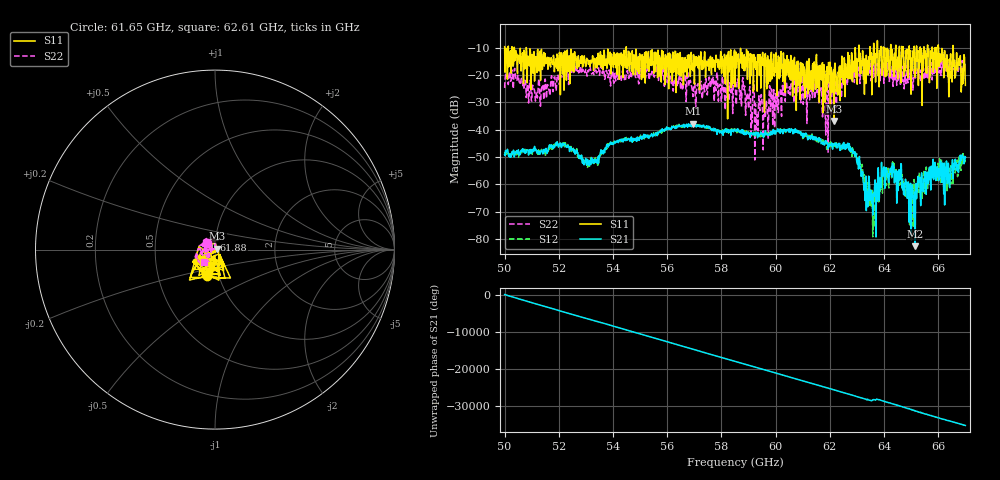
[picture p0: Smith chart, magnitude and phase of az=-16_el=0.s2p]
!Created with skrf (http://scikit-rf.org).
# GHz S RI R 50.0
!freq ReS11 ImS11 ReS21 ImS21 ReS12 ImS12 ReS22 ImS22
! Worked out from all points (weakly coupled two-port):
!   1001 points, 50 GHz to 67 GHz, reference 50 ohm
!   highest |S21| = -37.82 dB at 56.95 GHz (marker M1); lowest = -82.6 dB at 65.15 GHz (marker M2)
!   lowest |S11| = -36.9 dB at 62.16 GHz (marker M3), VSWR 1.03, Z = 51.3 + j0.555 ohm
!   |S11| at or under -10 dB: 50.8 GHz to 54.49 GHz (3.687 GHz wide, 7 % of centre); 54.49 GHz to 62.94 GHz (8.447 GHz wide, 14.4 % of centre); 66.01 GHz to 66.54 GHz (531 MHz wide, 0.801 % of centre) (the widest 3 of 28)
!   |S22| runs from -51.1 to -13.9 dB; largest |S21 - S12| = 0.0021
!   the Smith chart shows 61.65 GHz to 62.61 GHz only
!   S11 on the Smith chart (normalised r, x): 61.65 GHz: 0.88, -0.26; 61.88 GHz: 0.98, +0.10; 62.61 GHz: 0.87, -0.11
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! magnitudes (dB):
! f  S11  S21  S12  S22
! 50 GHz  -9.6  -49.1  -48.3  -24.7
! 51.38 GHz  -16.2  -47.8  -47.9  -24.3
! 52.84 GHz  -13.7  -49.3  -49.9  -19.5
! 55.68 GHz  -13.4  -41.1  -41.5  -22.0
! 56.95 GHz  -18.5  -37.8  -38.1  -27.9
! 58.5 GHz  -24.4  -40.0  -40.0  -24.6
! 59.32 GHz  -25.9  -41.5  -41.5  -34.5
! 60.64 GHz  -14.6  -41.5  -40.8  -22.1
! 61.34 GHz  -25.3  -42.1  -41.5  -26.2
! 61.65 GHz  -16.4  -43.5  -43.4  -24.8
! 61.88 GHz  -25.7  -45.1  -47.3  -23.3
! 62.16 GHz  -36.9  -45.6  -46.3  -28.1
! 62.61 GHz  -20.7  -46.7  -45.9  -20.5
! 63.12 GHz  -12.0  -53.7  -52.6  -20.3
! 63.57 GHz  -13.3  -64.8  -67.2  -17.0
! 64.18 GHz  -17.6  -59.0  -61.4  -18.7
! 64.38 GHz  -12.1  -59.5  -55.8  -20.3
! 64.99 GHz  -27.0  -78.6  -66.8  -17.7
! 65.15 GHz  -15.9  -82.6  -66.1  -21.1
! 65.83 GHz  -11.9  -58.3  -53.1  -19.0
! 66.47 GHz  -21.2  -53.6  -52.9  -15.3
! 67 GHz  -23.8  -50.2  -49.7  -15.6
